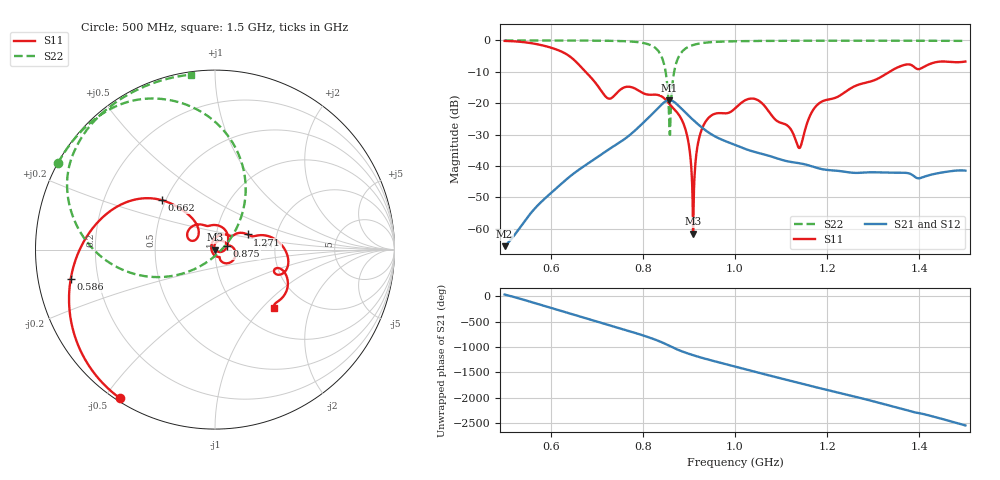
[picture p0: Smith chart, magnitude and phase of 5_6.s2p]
! TOUCHSTONE file generated by CST MICROWAVE STUDIO
! Date and time: Fri Oct  2 18:55:13 2020
! Project name: Scenario_1_Free_Space_out_of_line.cst
! Parameters = {Lambda=346.42; Step_1=17.321; dy1=278.276; dx1=1039; L_HA=400; MT=2.54; Rad_Dielectric=30; Rad_Lower=7.3; Rad_Upper=30; a_HA=580; a_WG=246; b_HA=500; b_WG=121; c_HA=0; c_WG=187; d_feed=85; h_feed=15; h_lower=18; h_upper=40}
! Header version: 2018
! Port assignment regex: !\s*Touchstone port\s*([0-9]+)\s*=\s*(CST MWS port|CST DS port)\s*([0-9]+|Zmin|Zmax)\s*\(\"(.*)\"\)(\s*mode\s*([0-9]+))?.*
! Touchstone port assignment:
! Touchstone port 1 = CST MWS port 1 ("")
! Touchstone port 2 = CST MWS port 2 ("")
# GHz S DB R 50
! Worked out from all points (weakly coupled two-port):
!   1003 points, 500 MHz to 1.5 GHz, reference 50 ohm
!   highest |S21| = -19.02 dB at 857 MHz (marker M1); lowest = -65.5 dB at 500 MHz (marker M2)
!   lowest |S11| = -61.5 dB at 909 MHz (marker M3), VSWR 1.00, Z = 50.1 + j0.0101 ohm
!   |S11| at or under -10 dB: 675.9 MHz to 1.335 GHz (658.9 MHz wide, 65.5 % of centre)
!   |S22| runs from -30.1 to 0.0 dB; largest |S21 - S12| = 2.6e-06
!   S11 on the Smith chart (normalised r, x): 500 MHz: 0.01, -0.55; 586 MHz: 0.10, -0.10; 662 MHz: 0.48, +0.31; 875 MHz: 1.14, +0.04; 1.271 GHz: 1.42, +0.25; 1.5 GHz: 1.42, -1.17
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0.5  -0.15 -122.5  -65.51 32.7  -65.51 32.7  -0.01 151.2
0.586  -1.71 -168.4  -50.52 169.0  -50.52 169.0  -0.02 145.2
0.662  -7.84 137.1  -41.08 -35.5  -41.08 -35.5  -0.04 138.8
0.667  -8.62 134.7  -40.57 -49.2  -40.57 -49.2  -0.04 138.4
0.725  -18.49 143.2  -34.80 154.6  -34.80 154.6  -0.12 131.5
0.791  -15.98 118.5  -27.59 -23.3  -27.59 -23.3  -0.58 116.5
0.834  -17.41 80.6  -21.37 -159.4  -21.37 -159.4  -3.45 86.4
0.847  -18.52 58.2  -19.61 149.9  -19.61 149.9  -8.16 64.1
0.857  -20.12 42.1  -19.02 106.3  -19.02 106.3  -24.27 21.3
0.861  -20.79 36.5  -19.09 88.5  -19.09 88.5  -20.70 -125.3
0.875  -23.06 15.6  -20.46 30.6  -20.46 30.6  -6.12 -165.2
0.896  -30.28 -26.2  -23.49 -41.0  -23.49 -41.0  -2.27 171.3
0.909  -61.53 6.9  -25.28 -79.8  -25.28 -79.8  -1.46 163.4
0.92  -32.52 98.8  -26.72 -110.4  -26.72 -110.4  -1.06 158.4
0.934  -26.39 72.9  -28.40 -146.9  -28.40 -146.9  -0.74 153.5
1  -21.66 15.9  -33.27 54.5  -33.27 54.5  -0.27 140.3
1.05  -19.05 -39.6  -35.78 -61.8  -35.78 -61.8  -0.17 134.5
1.139  -34.24 -159.1  -39.08 94.1  -39.08 94.1  -0.10 126.5
1.167  -22.76 80.9  -40.10 28.5  -40.10 28.5  -0.10 124.3
1.271  -13.95 24.9  -42.15 159.8  -42.15 159.8  -0.08 116.3
1.334  -10.08 13.4  -42.13 12.7  -42.13 12.7  -0.09 111.5
1.5  -6.72 -44.5  -41.45 -22.6  -41.45 -22.6  -0.14 98.0
